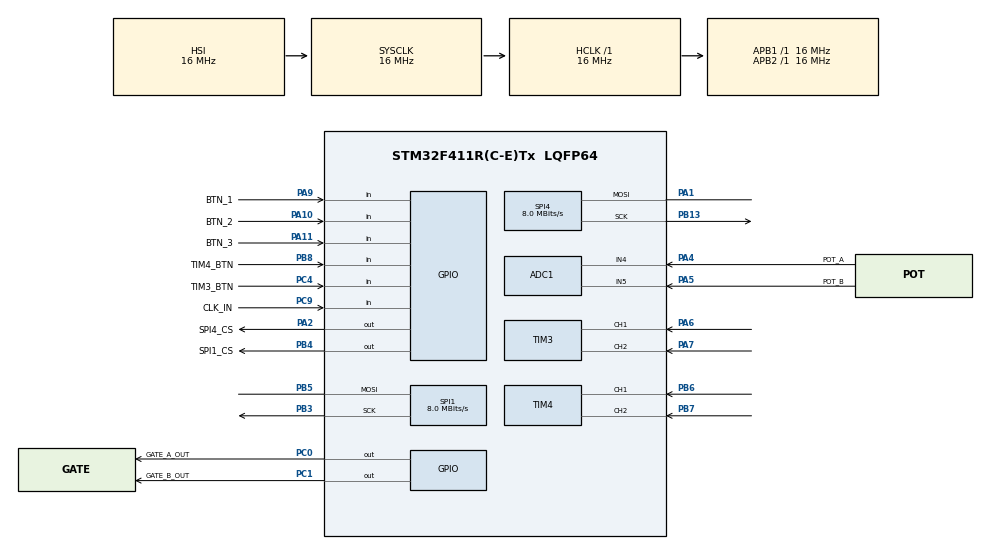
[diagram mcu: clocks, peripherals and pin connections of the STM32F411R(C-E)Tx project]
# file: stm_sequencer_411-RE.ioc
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ADC1.Channel-2\#ChannelRegularConversion=ADC_CHANNEL_5
ADC1.NbrOfConversionFlag=1
ADC1.Rank-2\#ChannelRegularConversion=1
ADC1.SamplingTime-2\#ChannelRegularConversion=ADC_SAMPLETIME_3CYCLES
ADC1.master=1
Mcu.Family=STM32F4
Mcu.Name=STM32F411R(C-E)Tx
Mcu.Package=LQFP64
NVIC.PriorityGroup=NVIC_PRIORITYGROUP_4
NVIC.TIM3_IRQn=true\:0\:0\:false\:false\:true\:true\:true\:true
NVIC.TIM4_IRQn=true\:0\:0\:false\:false\:true\:true\:true\:true
PA1.Mode=Simplex_Bidirectional_Master
PA1.Signal=SPI4_MOSI
PA10.GPIO_Label=BTN_2
PA10.Signal=GPIO_Input
PA11.GPIO_Label=BTN_3
PA11.Signal=GPIO_Input
PA13.Mode=Serial_Wire
PA13.Signal=SYS_JTMS-SWDIO
PA14.Mode=Serial_Wire
PA14.Signal=SYS_JTCK-SWCLK
PA2.GPIO_Label=SPI4_CS
PA2.Signal=GPIO_Output
PA4.GPIO_Label=POT_A
PA4.Signal=ADCx_IN4
PA5.GPIO_Label=POT_B
PA5.Signal=ADCx_IN5
PA6.Signal=S_TIM3_CH1
PA7.Signal=S_TIM3_CH2
PA9.GPIO_Label=BTN_1
PA9.Signal=GPIO_Input
PB13.Mode=Simplex_Bidirectional_Master
PB13.Signal=SPI4_SCK
PB3.Mode=Simplex_Bidirectional_Master
PB3.Signal=SPI1_SCK
PB4.GPIO_Label=SPI1_CS
PB4.Signal=GPIO_Output
PB5.Mode=Simplex_Bidirectional_Master
PB5.Signal=SPI1_MOSI
PB6.Signal=S_TIM4_CH1
PB7.Signal=S_TIM4_CH2
PB8.GPIO_Label=TIM4_BTN
PB8.Signal=GPIO_Input
PC0.GPIO_Label=GATE_A_OUT
PC0.Signal=GPIO_Output
PC1.GPIO_Label=GATE_B_OUT
PC1.Signal=GPIO_Output
PC4.GPIO_Label=TIM3_BTN
PC4.Signal=GPIO_Input
PC9.GPIO_Label=CLK_IN
PC9.Signal=GPIO_Input
PH0\ -\ OSC_IN.Mode=HSE-External-Oscillator
PH0\ -\ OSC_IN.Signal=RCC_OSC_IN
PH1\ -\ OSC_OUT.Mode=HSE-External-Oscillator
PH1\ -\ OSC_OUT.Signal=RCC_OSC_OUT
ProjectManager.HeapSize=0x200
ProjectManager.StackSize=0x400
ProjectManager.TargetToolchain=STM32CubeIDE
RCC.AHBFreq_Value=16000000
RCC.APB1Freq_Value=16000000
RCC.APB2Freq_Value=16000000
RCC.CortexFreq_Value=16000000
RCC.HSE_VALUE=25000000
RCC.HSI_VALUE=16000000
RCC.LSE_VALUE=32768
RCC.SYSCLKFreq_VALUE=16000000
RCC.VCOOutputFreq_Value=192000000
SH.ADCx_IN4.0=ADC1_IN4,IN4
SH.ADCx_IN5.0=ADC1_IN5,IN5
SH.S_TIM3_CH1.0=TIM3_CH1,Encoder_Interface
SH.S_TIM3_CH2.0=TIM3_CH2,Encoder_Interface
SH.S_TIM4_CH1.0=TIM4_CH1,Encoder_Interface
SH.S_TIM4_CH2.0=TIM4_CH2,Encoder_Interface
SPI1.CalculateBaudRate=8.0 MBits/s
SPI1.DataSize=SPI_DATASIZE_16BIT
SPI1.Direction=SPI_DIRECTION_1LINE
SPI1.Mode=SPI_MODE_MASTER
SPI1.VirtualType=VM_MASTER
SPI4.CalculateBaudRate=8.0 MBits/s
SPI4.DataSize=SPI_DATASIZE_8BIT
SPI4.Direction=SPI_DIRECTION_1LINE
SPI4.Mode=SPI_MODE_MASTER
SPI4.VirtualType=VM_MASTER
VP_TIM5_VS_ClockSourceINT.Mode=Internal
board=custom

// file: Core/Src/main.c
/* USER CODE BEGIN Header */
/**
  ******************************************************************************
  * @file           : main.c
  * @brief          : Main program body
  ******************************************************************************
  * @attention
  *
  * Copyright (c) 2024 STMicroelectronics.
  * All rights reserved.
  *
  * This software is licensed under terms that can be found in the LICENSE file
  * in the root directory of this software component.
  * If no LICENSE file comes with this software, it is provided AS-IS.
  *
  ******************************************************************************
  */
/* USER CODE END Header */
#include "main.h"

/* USER CODE BEGIN Includes */
#include <sys/types.h>

#include "app/command_queue.h"
#include "app/sequencer.h"
#include "app/mcp4822.h"
#include "app/encoder.h"
#include "app/ui.h"

/* USER CODE END Includes */

ADC_HandleTypeDef hadc1;

SPI_HandleTypeDef hspi1;
SPI_HandleTypeDef hspi4;

TIM_HandleTypeDef htim3;
TIM_HandleTypeDef htim4;
TIM_HandleTypeDef htim5;

/* USER CODE BEGIN PV */
ENCODER_config encoder_config;
COMMAND_QUEUE_config command_queue_config;

uint32_t last_button_clicked = 0;

/* USER CODE END PV */

void SystemClock_Config(void);
static void MX_GPIO_Init(void);
static void MX_ADC1_Init(void);
static void MX_SPI1_Init(void);
static void MX_SPI4_Init(void);
static void MX_TIM3_Init(void);
static void MX_TIM4_Init(void);
static void MX_TIM5_Init(void);

/* USER CODE BEGIN 0 */
void HAL_TIM_IC_CaptureCallback(TIM_HandleTypeDef* htim)
{
    encoder_handle_timer_interrupt(&encoder_config);
}

void HAL_GPIO_EXTI_Callback(uint16_t GPIO_Pin)
{
    uint32_t current_time = htim3.Instance->CNT;

    // debounce for the poor, 100ms
    if (current_time - last_button_clicked > 500)
    {
        command_queue_push(&command_queue_config, ENCODER_CLICK);
        last_button_clicked = htim3.Instance->CNT;
    }
}

/* USER CODE END 0 */

int main(void)
{

    /* MCU Configuration--------------------------------------------------------*/

    /* Reset of all peripherals, Initializes the Flash interface and the Systick. */
    HAL_Init();

    /* Configure the system clock */
    SystemClock_Config();

    /* Initialize all configured peripherals */
    MX_GPIO_Init();
    MX_ADC1_Init();
    MX_SPI1_Init();
    MX_SPI4_Init();
    MX_TIM3_Init();
    MX_TIM4_Init();
    MX_TIM5_Init();
    /* USER CODE BEGIN 2 */
    const int BPM = 60;

    HAL_TIM_Base_Start(&htim3);
    // Encoder only htim4
    HAL_TIM_Encoder_Start_IT(&htim4, TIM_CHANNEL_ALL);

    // Reset pins
    HAL_GPIO_WritePin(GATE_A_OUT_GPIO_Port, GATE_A_OUT_Pin, GPIO_PIN_RESET);
    HAL_GPIO_WritePin(GATE_B_OUT_GPIO_Port, GATE_B_OUT_Pin, GPIO_PIN_RESET);
    HAL_GPIO_WritePin(SPI1_CS_GPIO_Port, SPI1_CS_Pin, GPIO_PIN_SET);

    // Init command Queue
    command_queue_init(&command_queue_config, 32);

    // Init DAC
    MCP4822_config dac_config;
    mcp4822_init(&dac_config, SPI1_CS_GPIO_Port, SPI1_CS_Pin, &hspi1);

    // Init Encoder
    encoder_init(&encoder_config, &command_queue_config, &htim4);

    // Init Sequencer
    SEQUENCER_config sequencer_config;
    sequencer_init(&sequencer_config, BPM, &dac_config, &htim3);

    // Init UI
    UI_config ui_config;
    ui_init(&ui_config, &command_queue_config, &sequencer_config);
    /* USER CODE END 2 */

    /* Infinite loop */
    /* USER CODE BEGIN WHILE */
    uint32_t current_time = __HAL_TIM_GET_COUNTER(&htim3);
    while (1)
    {
        ui_run(&ui_config);

        if (__HAL_TIM_GET_COUNTER(&htim3) - current_time >= sequencer_config.usec_to_wait)
        {
            // Run Sequencer Code
            sequencer_run(&sequencer_config);

            // reset time value
            current_time = __HAL_TIM_GET_COUNTER(&htim3);

            if (ui_config.mode == UI_MODE_RUN)
            {
                // Set current index to the next step
                sequencer_config.current_index++;

                // Reset index when we reach the end of the sequence
                if (sequencer_config.current_index >= sequencer_config.sequence_length)
                {
                    sequencer_config.current_index = 0;
                }
            }
        }

        /* USER CODE END WHILE */

    }
}

void SystemClock_Config(void)
{
    RCC_OscInitTypeDef RCC_OscInitStruct = {0};
    RCC_ClkInitTypeDef RCC_ClkInitStruct = {0};

    /** Configure the main internal regulator output voltage
    */
    __HAL_RCC_PWR_CLK_ENABLE();
    __HAL_PWR_VOLTAGESCALING_CONFIG(PWR_REGULATOR_VOLTAGE_SCALE1);

    /** Initializes the RCC Oscillators according to the specified parameters
    * in the RCC_OscInitTypeDef structure.
    */
    RCC_OscInitStruct.OscillatorType = RCC_OSCILLATORTYPE_HSI;
    RCC_OscInitStruct.HSIState = RCC_HSI_ON;
    RCC_OscInitStruct.HSICalibrationValue = RCC_HSICALIBRATION_DEFAULT;
    RCC_OscInitStruct.PLL.PLLState = RCC_PLL_NONE;
    if (HAL_RCC_OscConfig(&RCC_OscInitStruct) != HAL_OK)
    {
        Error_Handler();
    }

    /** Initializes the CPU, AHB and APB buses clocks
    */
    RCC_ClkInitStruct.ClockType = RCC_CLOCKTYPE_HCLK | RCC_CLOCKTYPE_SYSCLK
        | RCC_CLOCKTYPE_PCLK1 | RCC_CLOCKTYPE_PCLK2;
    RCC_ClkInitStruct.SYSCLKSource = RCC_SYSCLKSOURCE_HSI;
    RCC_ClkInitStruct.AHBCLKDivider = RCC_SYSCLK_DIV1;
    RCC_ClkInitStruct.APB1CLKDivider = RCC_HCLK_DIV1;
    RCC_ClkInitStruct.APB2CLKDivider = RCC_HCLK_DIV1;

    if (HAL_RCC_ClockConfig(&RCC_ClkInitStruct, FLASH_LATENCY_0) != HAL_OK)
    {
        Error_Handler();
    }
}

static void MX_ADC1_Init(void)
{

    ADC_ChannelConfTypeDef sConfig = {0};

    /** Configure the global features of the ADC (Clock, Resolution, Data Alignment and number of conversion)
    */
    hadc1.Instance = ADC1;
    hadc1.Init.ClockPrescaler = ADC_CLOCK_SYNC_PCLK_DIV2;
    hadc1.Init.Resolution = ADC_RESOLUTION_12B;
    hadc1.Init.ScanConvMode = DISABLE;
    hadc1.Init.ContinuousConvMode = DISABLE;
    hadc1.Init.DiscontinuousConvMode = DISABLE;
    hadc1.Init.ExternalTrigConvEdge = ADC_EXTERNALTRIGCONVEDGE_NONE;
    hadc1.Init.ExternalTrigConv = ADC_SOFTWARE_START;
    hadc1.Init.DataAlign = ADC_DATAALIGN_RIGHT;
    hadc1.Init.NbrOfConversion = 1;
    hadc1.Init.DMAContinuousRequests = DISABLE;
    hadc1.Init.EOCSelection = ADC_EOC_SINGLE_CONV;
    if (HAL_ADC_Init(&hadc1) != HAL_OK)
    {
        Error_Handler();
    }

    /** Configure for the selected ADC regular channel its corresponding rank in the sequencer and its sample time.
    */
    sConfig.Channel = ADC_CHANNEL_5;
    sConfig.Rank = 1;
    sConfig.SamplingTime = ADC_SAMPLETIME_3CYCLES;
    if (HAL_ADC_ConfigChannel(&hadc1, &sConfig) != HAL_OK)
    {
        Error_Handler();
    }
}

static void MX_SPI1_Init(void)
{

    /* SPI1 parameter configuration*/
    hspi1.Instance = SPI1;
    hspi1.Init.Mode = SPI_MODE_MASTER;
    hspi1.Init.Direction = SPI_DIRECTION_1LINE;
    hspi1.Init.DataSize = SPI_DATASIZE_16BIT;
    hspi1.Init.CLKPolarity = SPI_POLARITY_LOW;
    hspi1.Init.CLKPhase = SPI_PHASE_1EDGE;
    hspi1.Init.NSS = SPI_NSS_SOFT;
    hspi1.Init.BaudRatePrescaler = SPI_BAUDRATEPRESCALER_2;
    hspi1.Init.FirstBit = SPI_FIRSTBIT_MSB;
    hspi1.Init.TIMode = SPI_TIMODE_DISABLE;
    hspi1.Init.CRCCalculation = SPI_CRCCALCULATION_DISABLE;
    hspi1.Init.CRCPolynomial = 10;
    if (HAL_SPI_Init(&hspi1) != HAL_OK)
    {
        Error_Handler();
    }
}

static void MX_SPI4_Init(void)
{

    /* SPI4 parameter configuration*/
    hspi4.Instance = SPI4;
    hspi4.Init.Mode = SPI_MODE_MASTER;
    hspi4.Init.Direction = SPI_DIRECTION_1LINE;
    hspi4.Init.DataSize = SPI_DATASIZE_8BIT;
    hspi4.Init.CLKPolarity = SPI_POLARITY_LOW;
    hspi4.Init.CLKPhase = SPI_PHASE_1EDGE;
    hspi4.Init.NSS = SPI_NSS_SOFT;
    hspi4.Init.BaudRatePrescaler = SPI_BAUDRATEPRESCALER_2;
    hspi4.Init.FirstBit = SPI_FIRSTBIT_MSB;
    hspi4.Init.TIMode = SPI_TIMODE_DISABLE;
    hspi4.Init.CRCCalculation = SPI_CRCCALCULATION_DISABLE;
    hspi4.Init.CRCPolynomial = 10;
    if (HAL_SPI_Init(&hspi4) != HAL_OK)
    {
        Error_Handler();
    }
}

static void MX_TIM3_Init(void)
{

    TIM_Encoder_InitTypeDef sConfig = {0};
    TIM_MasterConfigTypeDef sMasterConfig = {0};

    htim3.Instance = TIM3;
    htim3.Init.Prescaler = 0;
    htim3.Init.CounterMode = TIM_COUNTERMODE_UP;
    htim3.Init.Period = 65535;
    htim3.Init.ClockDivision = TIM_CLOCKDIVISION_DIV1;
    htim3.Init.AutoReloadPreload = TIM_AUTORELOAD_PRELOAD_DISABLE;
    sConfig.EncoderMode = TIM_ENCODERMODE_TI1;
    sConfig.IC1Polarity = TIM_ICPOLARITY_RISING;
    sConfig.IC1Selection = TIM_ICSELECTION_DIRECTTI;
    sConfig.IC1Prescaler = TIM_ICPSC_DIV1;
    sConfig.IC1Filter = 0;
    sConfig.IC2Polarity = TIM_ICPOLARITY_RISING;
    sConfig.IC2Selection = TIM_ICSELECTION_DIRECTTI;
    sConfig.IC2Prescaler = TIM_ICPSC_DIV1;
    sConfig.IC2Filter = 0;
    if (HAL_TIM_Encoder_Init(&htim3, &sConfig) != HAL_OK)
    {
        Error_Handler();
    }
    sMasterConfig.MasterOutputTrigger = TIM_TRGO_RESET;
    sMasterConfig.MasterSlaveMode = TIM_MASTERSLAVEMODE_DISABLE;
    if (HAL_TIMEx_MasterConfigSynchronization(&htim3, &sMasterConfig) != HAL_OK)
    {
        Error_Handler();
    }
}

static void MX_TIM4_Init(void)
{

    TIM_Encoder_InitTypeDef sConfig = {0};
    TIM_MasterConfigTypeDef sMasterConfig = {0};

    htim4.Instance = TIM4;
    htim4.Init.Prescaler = 0;
    htim4.Init.CounterMode = TIM_COUNTERMODE_UP;
    htim4.Init.Period = 65535;
    htim4.Init.ClockDivision = TIM_CLOCKDIVISION_DIV1;
    htim4.Init.AutoReloadPreload = TIM_AUTORELOAD_PRELOAD_DISABLE;
    sConfig.EncoderMode = TIM_ENCODERMODE_TI1;
    sConfig.IC1Polarity = TIM_ICPOLARITY_RISING;
    sConfig.IC1Selection = TIM_ICSELECTION_DIRECTTI;
    sConfig.IC1Prescaler = TIM_ICPSC_DIV1;
    sConfig.IC1Filter = 0;
    sConfig.IC2Polarity = TIM_ICPOLARITY_RISING;
    sConfig.IC2Selection = TIM_ICSELECTION_DIRECTTI;
    sConfig.IC2Prescaler = TIM_ICPSC_DIV1;
    sConfig.IC2Filter = 0;
    if (HAL_TIM_Encoder_Init(&htim4, &sConfig) != HAL_OK)
    {
        Error_Handler();
    }
    sMasterConfig.MasterOutputTrigger = TIM_TRGO_RESET;
    sMasterConfig.MasterSlaveMode = TIM_MASTERSLAVEMODE_DISABLE;
    if (HAL_TIMEx_MasterConfigSynchronization(&htim4, &sMasterConfig) != HAL_OK)
    {
        Error_Handler();
    }
}

static void MX_TIM5_Init(void)
{

    TIM_ClockConfigTypeDef sClockSourceConfig = {0};
    TIM_MasterConfigTypeDef sMasterConfig = {0};

    htim5.Instance = TIM5;
    htim5.Init.Prescaler = 0;
    htim5.Init.CounterMode = TIM_COUNTERMODE_UP;
    htim5.Init.Period = 4294967295;
    htim5.Init.ClockDivision = TIM_CLOCKDIVISION_DIV1;
    htim5.Init.AutoReloadPreload = TIM_AUTORELOAD_PRELOAD_DISABLE;
    if (HAL_TIM_Base_Init(&htim5) != HAL_OK)
    {
        Error_Handler();
    }
    sClockSourceConfig.ClockSource = TIM_CLOCKSOURCE_INTERNAL;
    if (HAL_TIM_ConfigClockSource(&htim5, &sClockSourceConfig) != HAL_OK)
    {
        Error_Handler();
    }
    sMasterConfig.MasterOutputTrigger = TIM_TRGO_RESET;
    sMasterConfig.MasterSlaveMode = TIM_MASTERSLAVEMODE_DISABLE;
    if (HAL_TIMEx_MasterConfigSynchronization(&htim5, &sMasterConfig) != HAL_OK)
    {
        Error_Handler();
    }
}

static void MX_GPIO_Init(void)
{
    GPIO_InitTypeDef GPIO_InitStruct = {0};

    /* GPIO Ports Clock Enable */
    __HAL_RCC_GPIOH_CLK_ENABLE();
    __HAL_RCC_GPIOC_CLK_ENABLE();
    __HAL_RCC_GPIOA_CLK_ENABLE();
    __HAL_RCC_GPIOB_CLK_ENABLE();

    /*Configure GPIO pin Output Level */
    HAL_GPIO_WritePin(GPIOC, GATE_A_OUT_Pin | GATE_B_OUT_Pin, GPIO_PIN_RESET);

    /*Configure GPIO pin Output Level */
    HAL_GPIO_WritePin(SPI4_CS_GPIO_Port, SPI4_CS_Pin, GPIO_PIN_RESET);

    /*Configure GPIO pin Output Level */
    HAL_GPIO_WritePin(SPI1_CS_GPIO_Port, SPI1_CS_Pin, GPIO_PIN_RESET);

    /*Configure GPIO pins : GATE_A_OUT_Pin GATE_B_OUT_Pin */
    GPIO_InitStruct.Pin = GATE_A_OUT_Pin | GATE_B_OUT_Pin;
    GPIO_InitStruct.Mode = GPIO_MODE_OUTPUT_PP;
    GPIO_InitStruct.Pull = GPIO_NOPULL;
    GPIO_InitStruct.Speed = GPIO_SPEED_FREQ_LOW;
    HAL_GPIO_Init(GPIOC, &GPIO_InitStruct);

    /*Configure GPIO pin : SPI4_CS_Pin */
    GPIO_InitStruct.Pin = SPI4_CS_Pin;
    GPIO_InitStruct.Mode = GPIO_MODE_OUTPUT_PP;
    GPIO_InitStruct.Pull = GPIO_NOPULL;
    GPIO_InitStruct.Speed = GPIO_SPEED_FREQ_LOW;
    HAL_GPIO_Init(SPI4_CS_GPIO_Port, &GPIO_InitStruct);

    /*Configure GPIO pins : TIM3_BTN_Pin CLK_IN_Pin */
    GPIO_InitStruct.Pin = TIM3_BTN_Pin | CLK_IN_Pin;
    GPIO_InitStruct.Mode = GPIO_MODE_INPUT;
    GPIO_InitStruct.Pull = GPIO_NOPULL;
    HAL_GPIO_Init(GPIOC, &GPIO_InitStruct);

    /*Configure GPIO pins : BTN_1_Pin BTN_2_Pin BTN_3_Pin */
    GPIO_InitStruct.Pin = BTN_1_Pin | BTN_2_Pin | BTN_3_Pin;
    GPIO_InitStruct.Mode = GPIO_MODE_INPUT;
    GPIO_InitStruct.Pull = GPIO_NOPULL;
    HAL_GPIO_Init(GPIOA, &GPIO_InitStruct);

    /*Configure GPIO pin : SPI1_CS_Pin */
    GPIO_InitStruct.Pin = SPI1_CS_Pin;
    GPIO_InitStruct.Mode = GPIO_MODE_OUTPUT_PP;
    GPIO_InitStruct.Pull = GPIO_NOPULL;
    GPIO_InitStruct.Speed = GPIO_SPEED_FREQ_LOW;
    HAL_GPIO_Init(SPI1_CS_GPIO_Port, &GPIO_InitStruct);

    /*Configure GPIO pin : TIM4_BTN_Pin */
    GPIO_InitStruct.Pin = TIM4_BTN_Pin;
    GPIO_InitStruct.Mode = GPIO_MODE_INPUT;
    GPIO_InitStruct.Pull = GPIO_NOPULL;
    HAL_GPIO_Init(TIM4_BTN_GPIO_Port, &GPIO_InitStruct);

}

void Error_Handler(void)
{
    __disable_irq();
    while (1)
    {
    }
}
